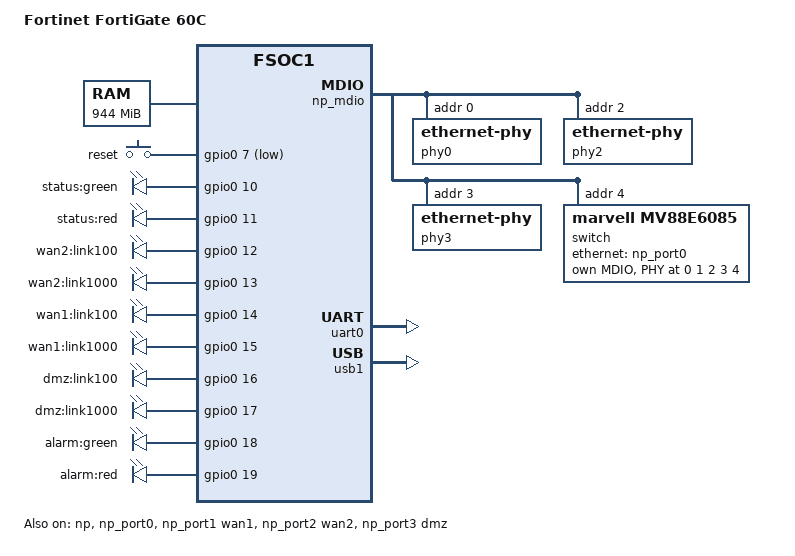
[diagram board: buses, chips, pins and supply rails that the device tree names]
// SPDX-License-Identifier: GPL-2.0-only OR MIT
/dts-v1/;

#include "fsoc1.dtsi"

#include <dt-bindings/gpio/gpio.h>
#include <dt-bindings/input/input.h>

/ {
	model = "Fortinet FortiGate 60C";
	compatible = "fortinet,fg60c", "fortinet,fsoc1";

	aliases {
		serial0 = &uart0;
	};

	chosen {
		stdout-path = "serial0:9600n8";
	};

	memory@0 {
		device_type = "memory";
		reg = <0x00000000 0x3b000000>;
	};

	/* The reset button; no interrupt line is known for the GPIO block */
	keys {
		compatible = "gpio-keys-polled";
		poll-interval = <100>;

		key-reset {
			label = "reset";
			gpios = <&gpio0 7 GPIO_ACTIVE_LOW>;
			linux,code = <KEY_RESTART>;
		};
	};

	/*
	 * Two-colour STATUS and second front panel LEDs, and the speed
	 * LEDs of the WAN1, WAN2 and DMZ ports: one line lit at 100 Mbit/s,
	 * the other at 1000. The LEDs
	 * of the switch ports belong to its PHYs. Left as found at boot.
	 */
	leds {
		compatible = "gpio-leds";

		led-status-green {
			label = "status:green";
			gpios = <&gpio0 10 GPIO_ACTIVE_HIGH>;
			default-state = "keep";
		};

		led-status-red {
			label = "status:red";
			gpios = <&gpio0 11 GPIO_ACTIVE_HIGH>;
			default-state = "keep";
		};

		led-wan2-100 {
			label = "wan2:link100";
			gpios = <&gpio0 12 GPIO_ACTIVE_HIGH>;
			default-state = "keep";
		};

		led-wan2-1000 {
			label = "wan2:link1000";
			gpios = <&gpio0 13 GPIO_ACTIVE_HIGH>;
			default-state = "keep";
		};

		led-wan1-100 {
			label = "wan1:link100";
			gpios = <&gpio0 14 GPIO_ACTIVE_HIGH>;
			default-state = "keep";
		};

		led-wan1-1000 {
			label = "wan1:link1000";
			gpios = <&gpio0 15 GPIO_ACTIVE_HIGH>;
			default-state = "keep";
		};

		led-dmz-100 {
			label = "dmz:link100";
			gpios = <&gpio0 16 GPIO_ACTIVE_HIGH>;
			default-state = "keep";
		};

		led-dmz-1000 {
			label = "dmz:link1000";
			gpios = <&gpio0 17 GPIO_ACTIVE_HIGH>;
			default-state = "keep";
		};

		/* ALARM or HA, same coding as STATUS */
		led-alarm-green {
			label = "alarm:green";
			gpios = <&gpio0 18 GPIO_ACTIVE_HIGH>;
			default-state = "keep";
		};

		led-alarm-red {
			label = "alarm:red";
			gpios = <&gpio0 19 GPIO_ACTIVE_HIGH>;
			default-state = "keep";
		};
	};

	reserved-memory {
		#address-cells = <1>;
		#size-cells = <1>;
		ranges;

		/*
		 * Descriptor rings and buffers the boot loader leaves the
		 * network processor running on, until its driver takes over.
		 */
		np_loader: np-loader@9a00000 {
			reg = <0x09a00000 0x00a00000>;
			no-map;
		};

		/* Command ring and message queue of the network processor */
		np_queues: np-queues@3b000000 {
			reg = <0x3b000000 0x00100000>;
			no-map;
		};

		/* Flow tables of the network processor */
		np_flow: np-flow@3c000000 {
			reg = <0x3c000000 0x03800000>;
			no-map;
		};

		/* Packet buffer of the network processor */
		np_pbuf: np-pbuf@3f800000 {
			reg = <0x3f800000 0x00800000>;
			no-map;
		};
	};
};

/*
 * Only the lines of known use are available: 7 (reset button), 10 to 19
 * (LEDs). Line 30 is the chip select of the boot flash; the others have
 * no known use.
 */
&gpio0 {
	gpio-reserved-ranges = <0 7>, <8 2>, <20 12>;
	status = "okay";
};

&np {
	memory-region = <&np_pbuf>, <&np_loader>, <&np_flow>, <&np_queues>;
	status = "okay";
};

&np_mdio {
	phy0: ethernet-phy@0 {
		reg = <0>;
	};

	phy2: ethernet-phy@2 {
		reg = <2>;
	};

	phy3: ethernet-phy@3 {
		reg = <3>;
	};

	switch@4 {
		compatible = "marvell,mv88e6085";
		reg = <4>;

		mdio {
			#address-cells = <1>;
			#size-cells = <0>;

			swphy0: ethernet-phy@0 {
				reg = <0>;
			};

			swphy1: ethernet-phy@1 {
				reg = <1>;
			};

			swphy2: ethernet-phy@2 {
				reg = <2>;
			};

			swphy3: ethernet-phy@3 {
				reg = <3>;
			};

			swphy4: ethernet-phy@4 {
				reg = <4>;
			};
		};

		ethernet-ports {
			#address-cells = <1>;
			#size-cells = <0>;

			ethernet-port@0 {
				reg = <0>;
				label = "lan5";
				phy-handle = <&swphy0>;
				phy-mode = "internal";
			};

			ethernet-port@1 {
				reg = <1>;
				label = "lan4";
				phy-handle = <&swphy1>;
				phy-mode = "internal";
			};

			ethernet-port@2 {
				reg = <2>;
				label = "lan3";
				phy-handle = <&swphy2>;
				phy-mode = "internal";
			};

			ethernet-port@3 {
				reg = <3>;
				label = "lan2";
				phy-handle = <&swphy3>;
				phy-mode = "internal";
			};

			ethernet-port@4 {
				reg = <4>;
				label = "lan1";
				phy-handle = <&swphy4>;
				phy-mode = "internal";
			};

			ethernet-port@5 {
				reg = <5>;
				ethernet = <&np_port0>;
				/* The switch adds the RGMII delays of the link. */
				phy-mode = "rgmii-id";

				fixed-link {
					speed = <1000>;
					full-duplex;
				};
			};
		};
	};
};

/* RGMII link to port 5 of the switch */
&np_port0 {
	/* No delay on the board: the switch adds them. */
	phy-mode = "rgmii-id";
	status = "okay";

	fixed-link {
		speed = <1000>;
		full-duplex;
	};
};

&np_port1 {
	label = "wan1";
	phy-handle = <&phy3>;
	phy-mode = "rgmii-id";
	status = "okay";
};

&np_port2 {
	label = "wan2";
	phy-handle = <&phy0>;
	phy-mode = "rgmii-id";
	status = "okay";
};

&np_port3 {
	label = "dmz";
	phy-handle = <&phy2>;
	phy-mode = "rgmii-id";
	status = "okay";
};

&uart0 {
	status = "okay";
};

/*
 * A four-port USB 2.0 hub behind the controller serves the internal disk
 * on module, the front USB port and the USB side of the ExpressCard slot.
 */
&usb1 {
	status = "okay";
};
